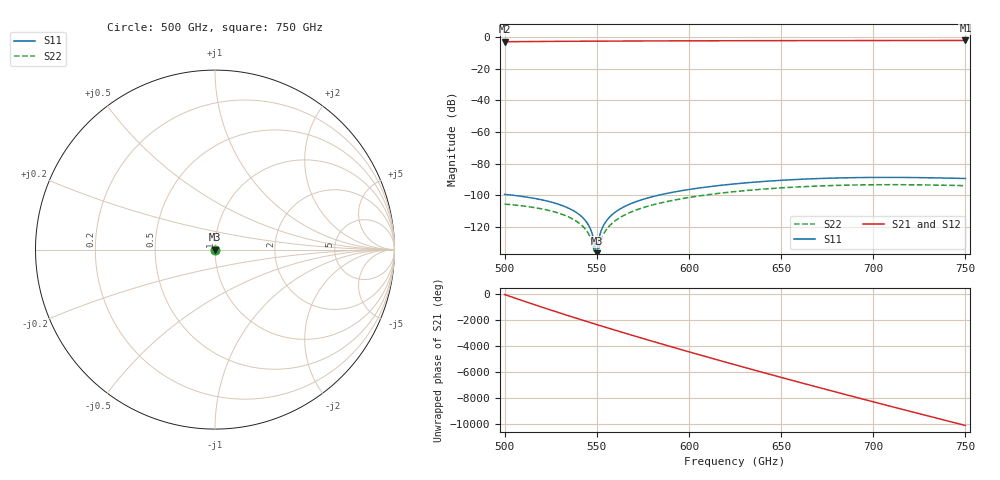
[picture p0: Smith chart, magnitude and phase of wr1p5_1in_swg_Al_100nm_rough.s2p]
! Touchstone file from project tmp
! Exported from HFSS 15.0.0
!Data is not renormalized
# GHZ S MA
! Modal data exported
! Port[1] = p1:1
! Port[2] = p2:1
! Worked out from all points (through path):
!   401 points, 500 GHz to 750 GHz, reference per port
!   highest |S21| = -2.24 dB at 750 GHz (marker M1); lowest = -3.0 dB at 500 GHz (marker M2)
!   lowest |S11| = -136.6 dB at 550 GHz (marker M3), VSWR 1.00
!   |S11| at or under -10 dB: start of sweep to end of sweep
!   |S22| runs from -148.3 to -93.4 dB; largest |S21 - S12| = 2.8e-12
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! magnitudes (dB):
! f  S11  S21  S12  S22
! 500 GHz  -99.5  -3.0  -3.0  -105.6
! 501.2 GHz  -99.6  -3.0  -3.0  -105.8
! 506.2 GHz  -100.3  -3.0  -3.0  -106.3
! 511.2 GHz  -101.1  -2.9  -2.9  -107.0
! 520 GHz  -102.9  -2.9  -2.9  -108.7
! 530.6 GHz  -106.3  -2.8  -2.8  -111.9
! 541.9 GHz  -113.6  -2.7  -2.7  -119.1
! 550 GHz  -136.6  -2.7  -2.7  -148.3
! 558.1 GHz  -112.5  -2.6  -2.6  -118.0
! 566.2 GHz  -106.5  -2.6  -2.6  -111.9
! 575 GHz  -102.7  -2.6  -2.6  -107.9
! 583.8 GHz  -100.0  -2.5  -2.5  -105.2
! 593.8 GHz  -97.6  -2.5  -2.5  -102.7
! 603.8 GHz  -95.8  -2.5  -2.5  -100.8
! 614.4 GHz  -94.2  -2.4  -2.4  -99.1
! 625 GHz  -92.9  -2.4  -2.4  -97.7
! 645 GHz  -91.0  -2.4  -2.4  -95.8
! 666.9 GHz  -89.6  -2.3  -2.3  -94.4
! 687.5 GHz  -89.0  -2.3  -2.3  -93.6
! 708.8 GHz  -88.8  -2.3  -2.3  -93.4
! 730.6 GHz  -89.0  -2.2  -2.2  -93.6
! 750 GHz  -89.5  -2.2  -2.2  -94.0
